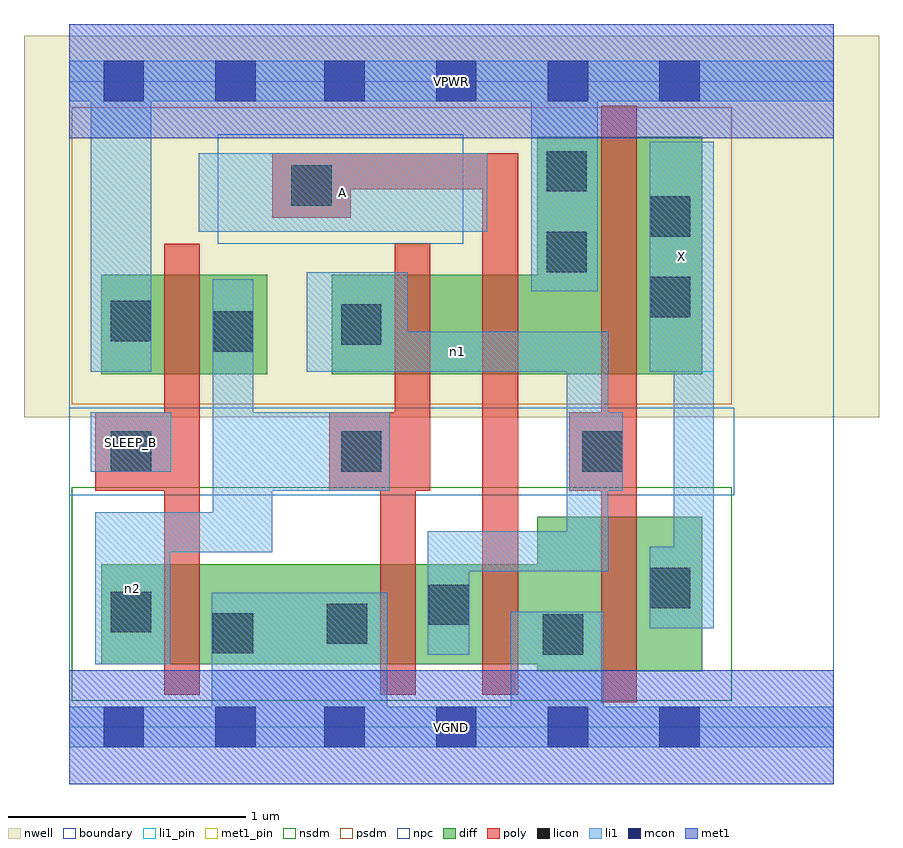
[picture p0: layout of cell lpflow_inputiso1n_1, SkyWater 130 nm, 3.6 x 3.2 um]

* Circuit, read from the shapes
.subckt lpflow_inputiso1n_1 A SLEEP_B VGND VPWR X n1 n2
XM1 VGND SLEEP_B n2 VSUBS sky130_fd_pr__nfet_01v8 w=0.42 l=0.15
XM2 n1 n2 VGND VSUBS sky130_fd_pr__nfet_01v8 w=0.42 l=0.15
XM3 VGND A n1 VSUBS sky130_fd_pr__nfet_01v8 w=0.42 l=0.15
XM4 X n1 VGND VSUBS sky130_fd_pr__nfet_01v8 w=0.65 l=0.15
XM5 n2 SLEEP_B VPWR n3 sky130_fd_pr__pfet_01v8 w=0.42 l=0.15
XM6 n4 n2 n1 n3 sky130_fd_pr__pfet_01v8 w=0.42 l=0.15
XM7 VPWR A n4 n3 sky130_fd_pr__pfet_01v8 w=0.42 l=0.15
XM8 X n1 VPWR n3 sky130_fd_pr__pfet_01v8 w=1 l=0.15
.ends

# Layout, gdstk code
import gdstk
lib = gdstk.Library(unit=1e-6, precision=1e-09)
def R(c, l, rs):  # rectangles x0, y0, x1, y1
    for r in rs: c.add(gdstk.rectangle(r[:2], r[2:], *l))
def A(c, l, x, y, w, h, nx, ny, dx, dy):  # array of equal rectangles
    R(c, l, [(x+i*dx, y+j*dy, x+i*dx+w, y+j*dy+h) for i in range(nx) for j in range(ny)])
nwell = (64, 20)
diff = (65, 20)
poly = (66, 20)
licon = (66, 44)
li1_pin = (67, 16)
li1 = (67, 20)
mcon = (67, 44)
met1_pin = (68, 16)
met1 = (68, 20)
nsdm = (93, 44)
psdm = (94, 20)
npc = (95, 20)
boundary = (235, 4)

lpflow_inputiso1n_1 = lib.new_cell('lpflow_inputiso1n_1')
R(lpflow_inputiso1n_1, nwell, [(-0.19,1.305,3.41,2.91), (0,1.305,3.22,2.91)])
R(lpflow_inputiso1n_1, diff, [(1.97,0.235,2.665,0.885), (0.135,0.265,2.665,0.685), (0.135,1.485,0.835,1.905), (1.105,1.485,2.665,1.905), (1.97,1.485,2.665,2.485)])
R(lpflow_inputiso1n_1, poly, [(2.24,0.105,2.39,2.615), (0.4,0.135,0.55,2.035), (1.31,0.135,1.46,1.325), (1.74,0.135,1.89,2.415), (0.11,0.995,0.55,1.325), (1.095,0.995,1.52,1.325), (1.37,0.995,1.52,2.035), (2.105,0.995,2.39,1.325), (0.855,2.145,1.185,2.415), (0.855,2.265,1.89,2.415)])
R(lpflow_inputiso1n_1, licon, [(1.995,0.305,2.165,0.475), (0.605,0.31,0.775,0.48), (1.085,0.35,1.255,0.52), (0.175,0.4,0.345,0.57), (1.515,0.43,1.685,0.6), (2.445,0.5,2.615,0.67), (0.175,1.075,0.345,1.245), (1.145,1.075,1.315,1.245), (2.16,1.075,2.33,1.245), (0.605,1.58,0.775,1.75), (1.145,1.61,1.315,1.78), (0.175,1.625,0.345,1.795), (2.445,1.725,2.615,1.895), (2.01,1.915,2.18,2.085), (2.445,2.065,2.615,2.235), (0.935,2.195,1.105,2.365), (2.01,2.255,2.18,2.425)])
R(lpflow_inputiso1n_1, li1_pin, [(0.09,1.075,0.43,1.325), (2.445,1.495,2.715,2.465), (0.545,2.085,1.76,2.415)])
R(lpflow_inputiso1n_1, li1, [(0,-0.085,3.22,0.085), (0.6,-0.085,1.34,0.565), (1.86,-0.085,2.25,0.485), (0.11,0.265,0.425,0.905), (1.51,0.305,1.685,0.825), (2.445,0.415,2.715,0.76), (2.545,0.415,2.715,2.465), (1.51,0.655,2.27,0.825), (2.095,0.655,2.27,1.665), (0.11,0.735,0.855,0.905), (0.605,0.735,0.775,1.885), (0.605,0.735,0.855,1.325), (0.605,0.995,1.35,1.325), (2.095,0.995,2.33,1.325), (0.09,1.075,0.43,1.325), (0.09,1.495,0.345,2.805), (1,1.495,2.27,1.665), (1,1.495,1.425,1.915), (2.445,1.495,2.715,2.465), (1.945,1.835,2.225,2.805), (0.545,2.085,1.76,2.415), (0,2.635,3.22,2.805)])
A(lpflow_inputiso1n_1, mcon, 1.075, -0.085, 0.17, 0.17, 4, 2, 0.47, 2.72)
R(lpflow_inputiso1n_1, mcon, [(0.145,-0.085,0.315,0.085), (0.615,-0.085,0.785,0.085), (0.145,2.635,0.315,2.805), (0.615,2.635,0.785,2.805)])
R(lpflow_inputiso1n_1, met1_pin, [(0,-0.24,3.22,0.24), (0,2.48,3.22,2.96)])
R(lpflow_inputiso1n_1, met1, [(0,-0.24,3.22,0.24), (0,2.48,3.22,2.96)])
R(lpflow_inputiso1n_1, nsdm, [(0.01,0.11,2.79,1.01)])
R(lpflow_inputiso1n_1, psdm, [(0.01,1.36,2.79,2.61)])
R(lpflow_inputiso1n_1, npc, [(0,0.975,2.8,1.345), (0.625,2.035,1.66,2.495)])
R(lpflow_inputiso1n_1, boundary, [(0,0,3.22,2.72)])
lpflow_inputiso1n_1.add(gdstk.Label('A', (1.152,2.25), layer=67, texttype=5))
lpflow_inputiso1n_1.add(gdstk.Label('SLEEP_B', (0.26,1.2), layer=67, texttype=5))
lpflow_inputiso1n_1.add(gdstk.Label('X', (2.58,1.98), layer=67, texttype=5))
lpflow_inputiso1n_1.add(gdstk.Label('n2', (0.267,0.585), layer=67, texttype=5))
lpflow_inputiso1n_1.add(gdstk.Label('n1', (1.635,1.58), layer=67, texttype=5))
lpflow_inputiso1n_1.add(gdstk.Label('VPWR', (1.61,2.72), layer=68, texttype=5))
lpflow_inputiso1n_1.add(gdstk.Label('VGND', (1.61,0), layer=68, texttype=5))
lpflow_inputiso1n_1.add(gdstk.Label('A', (1.152,2.25), layer=67, texttype=16))
lpflow_inputiso1n_1.add(gdstk.Label('SLEEP_B', (0.26,1.2), layer=67, texttype=16))
lpflow_inputiso1n_1.add(gdstk.Label('X', (2.58,1.98), layer=67, texttype=16))
lpflow_inputiso1n_1.add(gdstk.Label('VPWR', (1.61,2.72), layer=68, texttype=16))
lpflow_inputiso1n_1.add(gdstk.Label('VGND', (1.61,0), layer=68, texttype=16))

lib.write_gds('lpflow_inputiso1n_1.gds')
